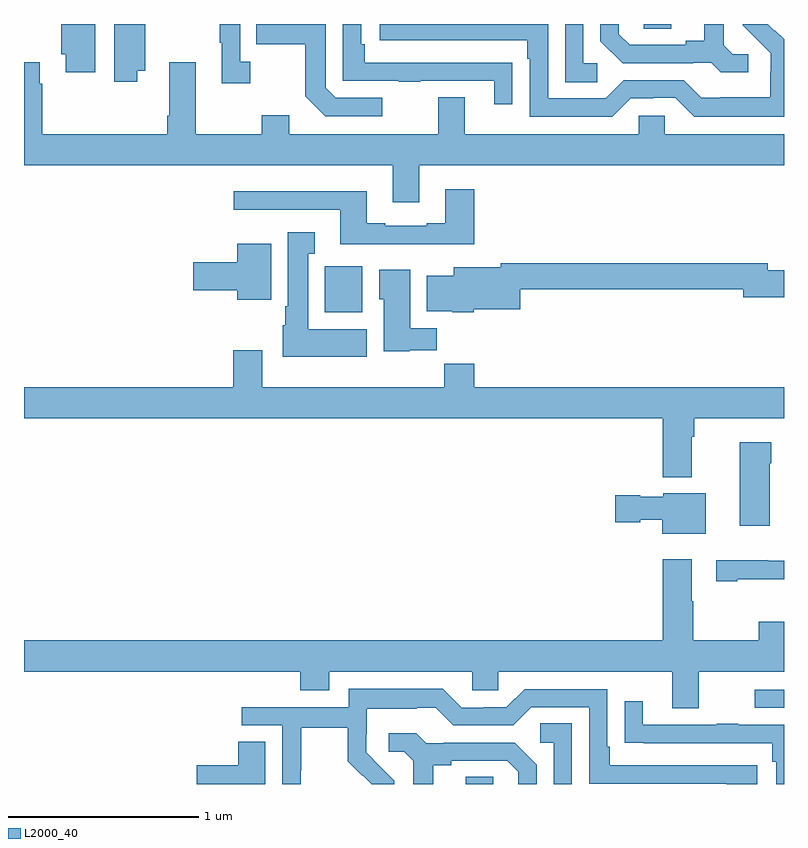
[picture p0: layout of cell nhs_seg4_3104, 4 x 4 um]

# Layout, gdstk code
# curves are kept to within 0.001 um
import gdstk
lib = gdstk.Library(unit=1e-6, precision=1e-09)
def R(c, l, rs):  # rectangles x0, y0, x1, y1
    for r in rs: c.add(gdstk.rectangle(r[:2], r[2:], *l))
def P(c, l, *ps):  # polygons
    for p in ps: c.add(gdstk.Polygon(p, *l))
L2000_40 = (2000, 40)

nhs_seg4_3104 = lib.new_cell('nhs_seg4_3104')
R(nhs_seg4_3104, L2000_40, [(277.325,790.9,277.47,790.937), (278.847,791.301,279,791.397), (276.584,793.382,276.781,793.624), (278.262,794.875,278.407,794.9)])
P(nhs_seg4_3104, L2000_40, [(278.017,794.694),(277.944,794.694),(277.944,794.9),(277.848,794.9),(277.848,794.593),(278.017,794.593)],
  [(275.596,794.654),(275.637,794.654),(275.637,794.9),(275.474,794.9),(275.474,794.595),(275.596,794.595)],
  [(279,794.82),(278.952,794.868),(278.949,794.865),(278.914,794.9),(278.784,794.9),(278.784,794.894),(278.93,794.746),(278.93,794.649),(278.928,794.649),(278.928,794.515),(278.665,794.515),(278.665,794.511),(278.565,794.511),(278.472,794.604),(278.157,794.604),(278.061,794.508),(277.758,794.508),(277.758,794.9),(276.873,794.9),(276.873,794.814),(277.649,794.814),(277.649,794.717),(277.662,794.717),(277.662,794.412),(278.097,794.412),(278.193,794.508),(278.312,794.508),(278.312,794.511),(278.427,794.511),(278.527,794.411),(279,794.411)],
  [(277.571,794.696),(277.469,794.696),(277.469,794.697),(276.794,794.697),(276.794,794.794),(276.774,794.794),(276.774,794.9),(276.678,794.9),(276.678,794.601),(276.973,794.601),(276.973,794.596),(277.085,794.596),(277.085,794.601),(277.475,794.601),(277.475,794.478),(277.571,794.478)],
  [(275.374,794.9),(275.195,794.9),(275.195,794.742),(275.219,794.742),(275.219,794.646),(275.374,794.646)],
  [(278.812,794.742),(278.73,794.742),(278.683,794.789),(278.683,794.9),(278.579,794.9),(278.579,794.813),(278.483,794.813),(278.483,794.79),(278.188,794.79),(278.131,794.847),(278.131,794.9),(278.034,794.9),(278.034,794.81),(278.15,794.694),(278.522,794.694),(278.522,794.697),(278.616,794.697),(278.668,794.645),(278.812,794.645)],
  [(276.886,794.511),(276.642,794.511),(276.588,794.565),(276.588,794.9),(276.223,794.9),(276.223,794.794),(276.48,794.794),(276.48,794.521),(276.585,794.415),(276.886,794.415)],
  [(276.19,794.702),(276.138,794.702),(276.138,794.9),(276.03,794.9),(276.03,794.801),(276.041,794.801),(276.041,794.589),(276.19,794.589)],
  [(277.081,794.156),(279,794.156),(279,794.32),(278.373,794.32),(278.373,794.418),(278.235,794.418),(278.235,794.32),(277.321,794.32),(277.321,794.515),(277.181,794.515),(277.181,794.32),(276.397,794.32),(276.397,794.419),(276.25,794.419),(276.25,794.32),(275.905,794.32),(275.905,794.698),(275.765,794.698),(275.765,794.416),(275.753,794.416),(275.753,794.32),(275.096,794.32),(275.096,794.585),(275.083,794.585),(275.083,794.698),(275,794.698),(275,794.156),(276.941,794.156),(276.941,793.962),(277.081,793.962)],
  [(277.37,794.029),(277.217,794.029),(277.217,793.852),(277.121,793.852),(277.121,793.839),(276.901,793.839),(276.901,793.852),(276.805,793.852),(276.805,794.02),(276.105,794.02),(276.105,793.923),(276.665,793.923),(276.665,793.742),(277.37,793.742)],
  [(276.805,793.294),(276.496,793.294),(276.496,793.691),(276.529,793.691),(276.529,793.804),(276.389,793.804),(276.389,793.414),(276.374,793.414),(276.374,793.314),(276.362,793.314),(276.362,793.148),(276.805,793.148)],
  [(276.301,793.744),(276.122,793.744),(276.122,793.646),(275.892,793.646),(275.892,793.499),(276.122,793.499),(276.122,793.448),(276.301,793.448)],
  [(277.368,793.4),(277.612,793.4),(277.612,793.504),(278.786,793.504),(278.786,793.462),(279,793.462),(279,793.604),(278.914,793.604),(278.914,793.64),(277.508,793.64),(277.508,793.621),(277.262,793.621),(277.262,793.576),(277.121,793.576),(277.121,793.388),(277.254,793.388),(277.254,793.382),(277.368,793.382)],
  [(277.029,793.182),(277.172,793.182),(277.172,793.3),(277.033,793.3),(277.033,793.606),(276.869,793.606),(276.869,793.452),(276.893,793.452),(276.893,793.178),(277.029,793.178)],
  [(278.515,792.728),(278.528,792.728),(278.528,792.824),(279,792.824),(279,792.988),(277.37,792.988),(277.37,793.112),(277.213,793.112),(277.213,792.988),(276.253,792.988),(276.253,793.183),(276.101,793.183),(276.101,792.988),(275,792.988),(275,792.824),(278.363,792.824),(278.363,792.515),(278.515,792.515)],
  [(278.926,792.587),(278.934,792.587),(278.934,792.7),(278.768,792.7),(278.768,792.258),(278.926,792.258)],
  [(278.587,792.43),(278.364,792.43),(278.364,792.412),(278.244,792.412),(278.244,792.42),(278.112,792.42),(278.112,792.278),(278.244,792.278),(278.244,792.29),(278.36,792.29),(278.36,792.218),(278.587,792.218)],
  [(278.551,791.492),(279,791.492),(279,791.755),(278.866,791.755),(278.866,791.656),(278.523,791.656),(278.523,791.861),(278.515,791.861),(278.515,792.082),(278.363,792.082),(278.363,791.656),(275,791.656),(275,791.492),(276.455,791.492),(276.455,791.393),(276.607,791.393),(276.607,791.492),(277.359,791.492),(277.359,791.394),(277.497,791.394),(277.497,791.492),(278.411,791.492),(278.411,791.298),(278.551,791.298)],
  [(278.755,791.977),(279,791.977),(279,792.075),(278.918,792.075),(278.918,792.077),(278.643,792.077),(278.643,791.967),(278.755,791.967)],
  [(276.456,790.972),(276.459,790.972),(276.459,791.196),(276.703,791.196),(276.703,791.021),(276.78,790.944),(276.783,790.947),(276.831,790.9),(276.948,790.9),(276.948,790.918),(276.802,791.066),(276.802,791.163),(276.804,791.163),(276.804,791.297),(277.067,791.297),(277.067,791.301),(277.167,791.301),(277.26,791.208),(277.575,791.208),(277.671,791.304),(277.974,791.304),(277.974,790.902),(278.699,790.902),(278.699,790.9),(278.86,790.9),(278.86,790.998),(278.083,790.998),(278.083,791.095),(278.07,791.095),(278.07,791.4),(277.635,791.4),(277.539,791.304),(277.421,791.304),(277.421,791.301),(277.305,791.301),(277.205,791.401),(276.708,791.401),(276.708,791.304),(276.147,791.304),(276.147,791.208),(276.36,791.208),(276.36,790.9),(276.456,790.9)],
  [(279,791.211),(278.759,791.211),(278.759,791.216),(278.647,791.216),(278.647,791.211),(278.257,791.211),(278.257,791.335),(278.161,791.335),(278.161,791.116),(278.263,791.116),(278.263,791.115),(278.938,791.115),(278.938,791.018),(278.958,791.018),(278.958,790.9),(279,790.9)],
  [(277.884,791.219),(277.716,791.219),(277.716,791.118),(277.788,791.118),(277.788,790.9),(277.884,790.9)],
  [(277.153,791),(277.249,791),(277.249,791.022),(277.544,791.022),(277.601,790.965),(277.601,790.9),(277.698,790.9),(277.698,791.002),(277.582,791.118),(277.21,791.118),(277.21,791.115),(277.116,791.115),(277.064,791.167),(276.921,791.167),(276.921,791.07),(277.002,791.07),(277.049,791.023),(277.049,790.9),(277.153,790.9)],
  [(276.271,791.123),(276.128,791.123),(276.128,791),(275.91,791),(275.91,790.9),(276.271,790.9)])

lib.write_gds('nhs_seg4_3104.gds')
